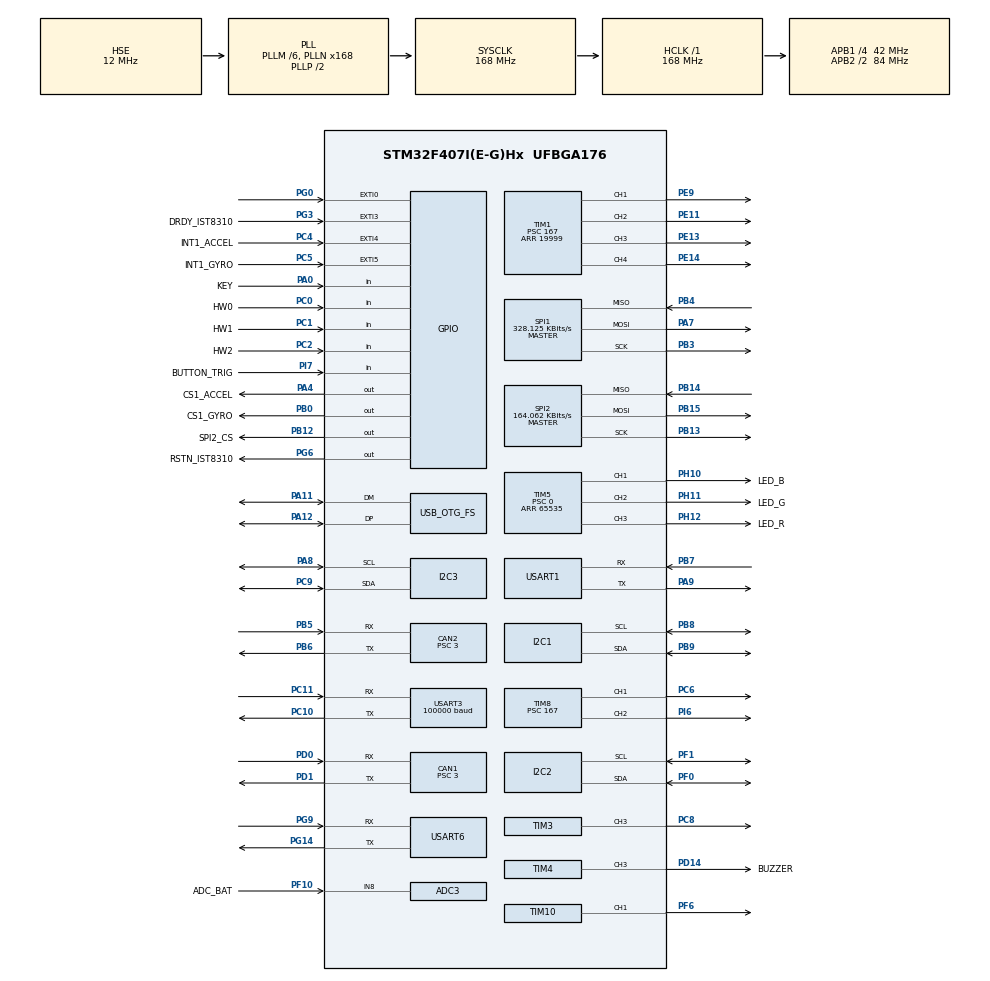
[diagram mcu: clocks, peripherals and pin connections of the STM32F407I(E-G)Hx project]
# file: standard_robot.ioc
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ADC1.Channel-0\#ChannelRegularConversion=ADC_CHANNEL_TEMPSENSOR
ADC1.ClockPrescaler=ADC_CLOCK_SYNC_PCLK_DIV6
ADC1.NbrOfConversionFlag=1
ADC1.Rank-0\#ChannelRegularConversion=1
ADC1.SamplingTime-0\#ChannelRegularConversion=ADC_SAMPLETIME_3CYCLES
ADC1.master=1
ADC3.Channel-0\#ChannelRegularConversion=ADC_CHANNEL_8
ADC3.ClockPrescaler=ADC_CLOCK_SYNC_PCLK_DIV6
ADC3.NbrOfConversionFlag=1
ADC3.Rank-0\#ChannelRegularConversion=1
ADC3.SamplingTime-0\#ChannelRegularConversion=ADC_SAMPLETIME_3CYCLES
CAN1.BS1=CAN_BS1_10TQ
CAN1.BS2=CAN_BS2_3TQ
CAN1.CalculateTimeQuantum=71.42857142857143
CAN1.Prescaler=3
CAN2.BS1=CAN_BS1_10TQ
CAN2.BS2=CAN_BS2_3TQ
CAN2.CalculateTimeQuantum=71.42857142857143
CAN2.Prescaler=3
Dma.I2C2_TX.2.Direction=DMA_MEMORY_TO_PERIPH
Dma.I2C2_TX.2.FIFOMode=DMA_FIFOMODE_DISABLE
Dma.I2C2_TX.2.Instance=DMA1_Stream7
Dma.I2C2_TX.2.MemDataAlignment=DMA_MDATAALIGN_BYTE
Dma.I2C2_TX.2.MemInc=DMA_MINC_ENABLE
Dma.I2C2_TX.2.Mode=DMA_NORMAL
Dma.I2C2_TX.2.PeriphDataAlignment=DMA_PDATAALIGN_BYTE
Dma.I2C2_TX.2.PeriphInc=DMA_PINC_DISABLE
Dma.I2C2_TX.2.Priority=DMA_PRIORITY_HIGH
Dma.Request0=SPI1_RX
Dma.Request1=SPI1_TX
Dma.Request2=I2C2_TX
Dma.Request3=USART3_RX
Dma.Request4=USART6_RX
Dma.Request5=USART6_TX
Dma.Request6=USART1_TX
Dma.SPI1_RX.0.Direction=DMA_PERIPH_TO_MEMORY
Dma.SPI1_RX.0.FIFOMode=DMA_FIFOMODE_DISABLE
Dma.SPI1_RX.0.Instance=DMA2_Stream2
Dma.SPI1_RX.0.MemDataAlignment=DMA_MDATAALIGN_BYTE
Dma.SPI1_RX.0.MemInc=DMA_MINC_ENABLE
Dma.SPI1_RX.0.Mode=DMA_NORMAL
Dma.SPI1_RX.0.PeriphDataAlignment=DMA_PDATAALIGN_BYTE
Dma.SPI1_RX.0.PeriphInc=DMA_PINC_DISABLE
Dma.SPI1_RX.0.Priority=DMA_PRIORITY_VERY_HIGH
Dma.SPI1_TX.1.Direction=DMA_MEMORY_TO_PERIPH
Dma.SPI1_TX.1.FIFOMode=DMA_FIFOMODE_DISABLE
Dma.SPI1_TX.1.Instance=DMA2_Stream3
Dma.SPI1_TX.1.MemDataAlignment=DMA_MDATAALIGN_BYTE
Dma.SPI1_TX.1.MemInc=DMA_MINC_ENABLE
Dma.SPI1_TX.1.Mode=DMA_NORMAL
Dma.SPI1_TX.1.PeriphDataAlignment=DMA_PDATAALIGN_BYTE
Dma.SPI1_TX.1.PeriphInc=DMA_PINC_DISABLE
Dma.SPI1_TX.1.Priority=DMA_PRIORITY_HIGH
Dma.USART1_TX.6.Direction=DMA_MEMORY_TO_PERIPH
Dma.USART1_TX.6.FIFOMode=DMA_FIFOMODE_DISABLE
Dma.USART1_TX.6.Instance=DMA2_Stream7
Dma.USART1_TX.6.MemDataAlignment=DMA_MDATAALIGN_BYTE
Dma.USART1_TX.6.MemInc=DMA_MINC_ENABLE
Dma.USART1_TX.6.Mode=DMA_NORMAL
Dma.USART1_TX.6.PeriphDataAlignment=DMA_PDATAALIGN_BYTE
Dma.USART1_TX.6.PeriphInc=DMA_PINC_DISABLE
Dma.USART1_TX.6.Priority=DMA_PRIORITY_MEDIUM
Dma.USART3_RX.3.Direction=DMA_PERIPH_TO_MEMORY
Dma.USART3_RX.3.FIFOMode=DMA_FIFOMODE_DISABLE
Dma.USART3_RX.3.Instance=DMA1_Stream1
Dma.USART3_RX.3.MemDataAlignment=DMA_MDATAALIGN_BYTE
Dma.USART3_RX.3.MemInc=DMA_MINC_ENABLE
Dma.USART3_RX.3.Mode=DMA_NORMAL
Dma.USART3_RX.3.PeriphDataAlignment=DMA_PDATAALIGN_BYTE
Dma.USART3_RX.3.PeriphInc=DMA_PINC_DISABLE
Dma.USART3_RX.3.Priority=DMA_PRIORITY_HIGH
Dma.USART6_RX.4.Direction=DMA_PERIPH_TO_MEMORY
Dma.USART6_RX.4.FIFOMode=DMA_FIFOMODE_DISABLE
Dma.USART6_RX.4.Instance=DMA2_Stream1
Dma.USART6_RX.4.MemDataAlignment=DMA_MDATAALIGN_BYTE
Dma.USART6_RX.4.MemInc=DMA_MINC_ENABLE
Dma.USART6_RX.4.Mode=DMA_NORMAL
Dma.USART6_RX.4.PeriphDataAlignment=DMA_PDATAALIGN_BYTE
Dma.USART6_RX.4.PeriphInc=DMA_PINC_DISABLE
Dma.USART6_RX.4.Priority=DMA_PRIORITY_HIGH
Dma.USART6_TX.5.Direction=DMA_MEMORY_TO_PERIPH
Dma.USART6_TX.5.FIFOMode=DMA_FIFOMODE_DISABLE
Dma.USART6_TX.5.Instance=DMA2_Stream6
Dma.USART6_TX.5.MemDataAlignment=DMA_MDATAALIGN_BYTE
Dma.USART6_TX.5.MemInc=DMA_MINC_ENABLE
Dma.USART6_TX.5.Mode=DMA_NORMAL
Dma.USART6_TX.5.PeriphDataAlignment=DMA_PDATAALIGN_BYTE
Dma.USART6_TX.5.PeriphInc=DMA_PINC_DISABLE
Dma.USART6_TX.5.Priority=DMA_PRIORITY_MEDIUM
FREERTOS.INCLUDE_eTaskGetState=1
FREERTOS.INCLUDE_pcTaskGetTaskName=1
FREERTOS.INCLUDE_uxTaskGetStackHighWaterMark=1
FREERTOS.INCLUDE_vTaskCleanUpResources=1
FREERTOS.INCLUDE_vTaskDelayUntil=1
FREERTOS.INCLUDE_xEventGroupSetBitFromISR=1
FREERTOS.INCLUDE_xQueueGetMutexHolder=1
FREERTOS.INCLUDE_xSemaphoreGetMutexHolder=1
FREERTOS.INCLUDE_xTaskAbortDelay=1
FREERTOS.INCLUDE_xTaskGetCurrentTaskHandle=1
FREERTOS.INCLUDE_xTaskGetHandle=1
FREERTOS.INCLUDE_xTimerPendFunctionCall=1
FREERTOS.Tasks01=test,24,128,test_task,As weak,NULL,Dynamic,NULL,NULL
FREERTOS.configTOTAL_HEAP_SIZE=24576
I2C1.I2C_Mode=I2C_Fast
I2C2.I2C_Mode=I2C_Fast
I2C3.I2C_Mode=I2C_Fast
Mcu.Family=STM32F4
Mcu.Name=STM32F407I(E-G)Hx
Mcu.Package=UFBGA176
NVIC.CAN1_RX0_IRQn=true\:6\:0\:true\:false\:true\:true\:true\:true\:true
NVIC.CAN2_RX0_IRQn=true\:6\:0\:true\:false\:true\:true\:true\:true\:true
NVIC.DMA1_Stream1_IRQn=true\:5\:0\:true\:false\:false\:true\:false\:false\:true
NVIC.DMA1_Stream7_IRQn=true\:5\:0\:true\:false\:false\:true\:false\:true\:true
NVIC.DMA2_Stream1_IRQn=true\:5\:0\:true\:false\:true\:true\:false\:true\:true
NVIC.DMA2_Stream2_IRQn=true\:5\:0\:true\:false\:false\:true\:false\:true\:true
NVIC.DMA2_Stream3_IRQn=true\:5\:0\:true\:false\:false\:true\:false\:true\:true
NVIC.DMA2_Stream6_IRQn=true\:5\:0\:true\:false\:true\:true\:false\:true\:true
NVIC.DMA2_Stream7_IRQn=true\:5\:0\:true\:false\:true\:true\:false\:true\:true
NVIC.EXTI0_IRQn=true\:6\:0\:true\:false\:true\:true\:true\:true\:true
NVIC.EXTI3_IRQn=true\:5\:0\:true\:false\:true\:true\:true\:true\:true
NVIC.EXTI4_IRQn=true\:5\:0\:true\:false\:true\:true\:true\:true\:true
NVIC.EXTI9_5_IRQn=true\:5\:0\:true\:false\:true\:true\:true\:true\:true
NVIC.OTG_FS_IRQn=true\:5\:0\:false\:false\:true\:true\:false\:true\:true
NVIC.PriorityGroup=NVIC_PRIORITYGROUP_4
NVIC.USART3_IRQn=true\:4\:0\:true\:false\:false\:false\:true\:true\:true
NVIC.USART6_IRQn=true\:5\:0\:true\:false\:false\:true\:true\:true\:true
PA0-WKUP.GPIO_Label=KEY
PA0-WKUP.GPIO_PuPd=GPIO_PULLUP
PA0-WKUP.Signal=GPIO_Input
PA11.Mode=Device_Only
PA11.Signal=USB_OTG_FS_DM
PA12.Mode=Device_Only
PA12.Signal=USB_OTG_FS_DP
PA13.Mode=Serial_Wire
PA13.Signal=SYS_JTMS-SWDIO
PA14.Mode=Serial_Wire
PA14.Signal=SYS_JTCK-SWCLK
PA4.GPIO_Label=CS1_ACCEL
PA4.GPIO_PuPd=GPIO_PULLUP
PA4.GPIO_Speed=GPIO_SPEED_FREQ_HIGH
PA4.PinState=GPIO_PIN_SET
PA4.Signal=GPIO_Output
PA7.GPIO_PuPd=GPIO_PULLUP
PA7.Mode=Full_Duplex_Master
PA7.Signal=SPI1_MOSI
PA8.Mode=I2C
PA8.Signal=I2C3_SCL
PA9.Mode=Asynchronous
PA9.Signal=USART1_TX
PB0.GPIO_Label=CS1_GYRO
PB0.GPIO_PuPd=GPIO_PULLUP
PB0.GPIO_Speed=GPIO_SPEED_FREQ_HIGH
PB0.PinState=GPIO_PIN_SET
PB0.Signal=GPIO_Output
PB12.GPIO_Label=SPI2_CS
PB12.GPIO_PuPd=GPIO_PULLUP
PB12.GPIO_Speed=GPIO_SPEED_FREQ_MEDIUM
PB12.PinState=GPIO_PIN_SET
PB12.Signal=GPIO_Output
PB13.GPIO_PuPd=GPIO_PULLUP
PB13.Mode=Full_Duplex_Master
PB13.Signal=SPI2_SCK
PB14.GPIO_PuPd=GPIO_PULLUP
PB14.Mode=Full_Duplex_Master
PB14.Signal=SPI2_MISO
PB15.GPIO_PuPd=GPIO_PULLUP
PB15.Mode=Full_Duplex_Master
PB15.Signal=SPI2_MOSI
PB3.GPIO_PuPd=GPIO_PULLUP
PB3.Mode=Full_Duplex_Master
PB3.Signal=SPI1_SCK
PB4.GPIO_PuPd=GPIO_PULLUP
PB4.Mode=Full_Duplex_Master
PB4.Signal=SPI1_MISO
PB5.Mode=Slave
PB5.Signal=CAN2_RX
PB6.Mode=Slave
PB6.Signal=CAN2_TX
PB7.Mode=Asynchronous
PB7.Signal=USART1_RX
PB8.Mode=I2C
PB8.Signal=I2C1_SCL
PB9.Mode=I2C
PB9.Signal=I2C1_SDA
PC0.GPIO_Label=HW0
PC0.Signal=GPIO_Input
PC1.GPIO_Label=HW1
PC1.Signal=GPIO_Input
PC10.Mode=Asynchronous
PC10.Signal=USART3_TX
PC11.Mode=Asynchronous
PC11.Signal=USART3_RX
PC2.GPIO_Label=HW2
PC2.Signal=GPIO_Input
PC4.GPIO_Label=INT1_ACCEL
PC4.GPIO_ModeDefaultEXTI=GPIO_MODE_IT_FALLING
PC4.GPIO_PuPd=GPIO_PULLUP
PC4.Signal=GPXTI4
PC5.GPIO_Label=INT1_GYRO
PC5.GPIO_ModeDefaultEXTI=GPIO_MODE_IT_FALLING
PC5.GPIO_PuPd=GPIO_PULLUP
PC5.Signal=GPXTI5
PC6.GPIO_PuPd=GPIO_PULLUP
PC6.GPIO_Speed=GPIO_SPEED_FREQ_HIGH
PC6.Signal=S_TIM8_CH1
PC8.GPIO_PuPd=GPIO_PULLUP
PC8.GPIO_Speed=GPIO_SPEED_FREQ_HIGH
PC8.Signal=S_TIM3_CH3
PC9.Mode=I2C
PC9.Signal=I2C3_SDA
PD0.Mode=Master
PD0.Signal=CAN1_RX
PD1.Mode=Master
PD1.Signal=CAN1_TX
PD14.GPIO_Label=BUZZER
PD14.GPIO_PuPd=GPIO_PULLUP
PD14.GPIO_Speed=GPIO_SPEED_FREQ_VERY_HIGH
PD14.Signal=S_TIM4_CH3
PE11.GPIO_PuPd=GPIO_PULLUP
PE11.GPIO_Speed=GPIO_SPEED_FREQ_HIGH
PE11.Signal=S_TIM1_CH2
PE13.GPIO_PuPd=GPIO_PULLUP
PE13.GPIO_Speed=GPIO_SPEED_FREQ_HIGH
PE13.Signal=S_TIM1_CH3
PE14.GPIO_PuPd=GPIO_PULLUP
PE14.GPIO_Speed=GPIO_SPEED_FREQ_HIGH
PE14.Signal=S_TIM1_CH4
PE9.GPIO_PuPd=GPIO_PULLUP
PE9.GPIO_Speed=GPIO_SPEED_FREQ_HIGH
PE9.Signal=S_TIM1_CH1
PF0.Mode=I2C
PF0.Signal=I2C2_SDA
PF1.Mode=I2C
PF1.Signal=I2C2_SCL
PF10.GPIO_Label=ADC_BAT
PF10.Mode=IN8
PF10.Signal=ADC3_IN8
PF6.GPIO_PuPd=GPIO_PULLUP
PF6.GPIO_Speed=GPIO_SPEED_FREQ_HIGH
PF6.Signal=S_TIM10_CH1
PG0.GPIO_ModeDefaultEXTI=GPIO_MODE_IT_FALLING
PG0.GPIO_PuPd=GPIO_PULLUP
PG0.Signal=GPXTI0
PG14.Mode=Asynchronous
PG14.Signal=USART6_TX
PG3.GPIO_Label=DRDY_IST8310
PG3.GPIO_ModeDefaultEXTI=GPIO_MODE_IT_FALLING
PG3.GPIO_PuPd=GPIO_PULLUP
PG3.Signal=GPXTI3
PG6.GPIO_Label=RSTN_IST8310
PG6.GPIO_PuPd=GPIO_PULLUP
PG6.GPIO_Speed=GPIO_SPEED_FREQ_MEDIUM
PG6.PinState=GPIO_PIN_SET
PG6.Signal=GPIO_Output
PG9.Mode=Asynchronous
PG9.Signal=USART6_RX
PH0-OSC_IN.Mode=HSE-External-Oscillator
PH0-OSC_IN.Signal=RCC_OSC_IN
PH1-OSC_OUT.Mode=HSE-External-Oscillator
PH1-OSC_OUT.Signal=RCC_OSC_OUT
PH10.GPIO_Label=LED_B
PH10.GPIO_PuPd=GPIO_PULLUP
PH10.GPIO_Speed=GPIO_SPEED_FREQ_HIGH
PH10.Signal=S_TIM5_CH1
PH11.GPIO_Label=LED_G
PH11.GPIO_PuPd=GPIO_PULLUP
PH11.GPIO_Speed=GPIO_SPEED_FREQ_HIGH
PH11.Signal=S_TIM5_CH2
PH12.GPIO_Label=LED_R
PH12.GPIO_PuPd=GPIO_PULLUP
PH12.GPIO_Speed=GPIO_SPEED_FREQ_HIGH
PH12.Signal=S_TIM5_CH3
PI6.GPIO_PuPd=GPIO_PULLUP
PI6.GPIO_Speed=GPIO_SPEED_FREQ_HIGH
PI6.Signal=S_TIM8_CH2
PI7.GPIO_Label=BUTTON_TRIG
PI7.GPIO_PuPd=GPIO_PULLUP
PI7.Signal=GPIO_Input
ProjectManager.HeapSize=0x2000
ProjectManager.StackSize=0x2000
ProjectManager.TargetToolchain=MDK-ARM V5
RCC.48MHZClocksFreq_Value=48000000
RCC.AHBFreq_Value=168000000
RCC.APB1CLKDivider=RCC_HCLK_DIV4
RCC.APB1Freq_Value=42000000
RCC.APB1TimFreq_Value=84000000
RCC.APB2CLKDivider=RCC_HCLK_DIV2
RCC.APB2Freq_Value=84000000
RCC.APB2TimFreq_Value=168000000
RCC.CortexFreq_Value=168000000
RCC.HCLKFreq_Value=168000000
RCC.HSE_VALUE=12000000
RCC.HSI_VALUE=16000000
RCC.LSE_VALUE=32768
RCC.PLLM=6
RCC.PLLN=168
RCC.PLLQ=7
RCC.RCC_RTC_Clock_SourceVirtual=RCC_RTCCLKSOURCE_HSE_DIV30
RCC.RCC_RTC_Clock_Source_FROM_HSE=RCC_RTCCLKSOURCE_HSE_DIV30
RCC.SYSCLKFreq_VALUE=168000000
RCC.SYSCLKSource=RCC_SYSCLKSOURCE_PLLCLK
RCC.VCOOutputFreq_Value=336000000
RTC.AsynchPrediv=124
RTC.SynchPrediv=3199
SH.S_TIM10_CH1.0=TIM10_CH1,PWM Generation1 CH1
SH.S_TIM1_CH1.0=TIM1_CH1,PWM Generation1 CH1
SH.S_TIM1_CH2.0=TIM1_CH2,PWM Generation2 CH2
SH.S_TIM1_CH3.0=TIM1_CH3,PWM Generation3 CH3
SH.S_TIM1_CH4.0=TIM1_CH4,PWM Generation4 CH4
SH.S_TIM3_CH3.0=TIM3_CH3,PWM Generation3 CH3
SH.S_TIM4_CH3.0=TIM4_CH3,PWM Generation3 CH3
SH.S_TIM5_CH1.0=TIM5_CH1,PWM Generation1 CH1
SH.S_TIM5_CH2.0=TIM5_CH2,PWM Generation2 CH2
SH.S_TIM5_CH3.0=TIM5_CH3,PWM Generation3 CH3
SH.S_TIM8_CH1.0=TIM8_CH1,PWM Generation1 CH1
SH.S_TIM8_CH2.0=TIM8_CH2,PWM Generation2 CH2
SPI1.BaudRatePrescaler=SPI_BAUDRATEPRESCALER_256
SPI1.CLKPhase=SPI_PHASE_2EDGE
SPI1.CLKPolarity=SPI_POLARITY_HIGH
SPI1.CalculateBaudRate=328.125 KBits/s
SPI1.Direction=SPI_DIRECTION_2LINES
SPI1.Mode=SPI_MODE_MASTER
SPI1.VirtualType=VM_MASTER
SPI2.BaudRatePrescaler=SPI_BAUDRATEPRESCALER_256
SPI2.CLKPhase=SPI_PHASE_2EDGE
SPI2.CLKPolarity=SPI_POLARITY_HIGH
SPI2.CalculateBaudRate=164.062 KBits/s
SPI2.Direction=SPI_DIRECTION_2LINES
SPI2.Mode=SPI_MODE_MASTER
SPI2.VirtualType=VM_MASTER
TIM1.Channel-PWM\ Generation1\ CH1=TIM_CHANNEL_1
TIM1.Channel-PWM\ Generation2\ CH2=TIM_CHANNEL_2
TIM1.Channel-PWM\ Generation3\ CH3=TIM_CHANNEL_3
TIM1.Channel-PWM\ Generation4\ CH4=TIM_CHANNEL_4
TIM1.Period=19999
TIM1.Prescaler=167
TIM1.Pulse-PWM\ Generation1\ CH1=1000
TIM1.Pulse-PWM\ Generation2\ CH2=1000
TIM1.Pulse-PWM\ Generation3\ CH3=1000
TIM1.Pulse-PWM\ Generation4\ CH4=1000
TIM10.Channel=TIM_CHANNEL_1
TIM10.Period=4999
TIM3.Channel-PWM\ Generation3\ CH3=TIM_CHANNEL_3
TIM3.Period=8399
TIM4.Channel-PWM\ Generation3\ CH3=TIM_CHANNEL_3
TIM4.Period=65535
TIM4.Prescaler=167
TIM5.Channel-PWM\ Generation1\ CH1=TIM_CHANNEL_1
TIM5.Channel-PWM\ Generation2\ CH2=TIM_CHANNEL_2
TIM5.Channel-PWM\ Generation3\ CH3=TIM_CHANNEL_3
TIM5.Period=65535
TIM5.Prescaler=0
TIM8.Channel-PWM\ Generation1\ CH1=TIM_CHANNEL_1
TIM8.Channel-PWM\ Generation2\ CH2=TIM_CHANNEL_2
TIM8.Period=19999
TIM8.Prescaler=167
TIM8.Pulse-PWM\ Generation1\ CH1=1000
TIM8.Pulse-PWM\ Generation2\ CH2=1000
USART1.VirtualMode=VM_ASYNC
USART3.BaudRate=100000
USART3.Parity=PARITY_EVEN
USART3.VirtualMode=VM_ASYNC
USART6.VirtualMode=VM_ASYNC
USB_DEVICE.CLASS_NAME_FS=CDC
USB_DEVICE.VirtualMode-CDC_FS=Cdc
USB_DEVICE.VirtualModeFS=Cdc_FS
USB_OTG_FS.VirtualMode=Device_Only
VP_ADC1_TempSens_Input.Mode=IN-TempSens
VP_ADC1_Vref_Input.Mode=IN-Vrefint
VP_CRC_VS_CRC.Mode=CRC_Activate
VP_FREERTOS_VS_CMSIS_V1.Mode=CMSIS_V1
VP_RNG_VS_RNG.Mode=RNG_Activate
VP_RTC_VS_RTC_Activate.Mode=RTC_Enabled
VP_TIM10_VS_ClockSourceINT.Mode=Enable_Timer
VP_TIM1_VS_ClockSourceINT.Mode=Internal
VP_TIM3_VS_ClockSourceINT.Mode=Internal
VP_TIM4_VS_ClockSourceINT.Mode=Internal
VP_TIM5_VS_ClockSourceINT.Mode=Internal
VP_TIM8_VS_ClockSourceINT.Mode=Internal
VP_USB_DEVICE_VS_USB_DEVICE_CDC_FS.Mode=CDC_FS
board=custom

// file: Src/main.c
/* USER CODE BEGIN Header */
/**
 ******************************************************************************
 * @file           : main.c
 * @brief          : Main program body
 ******************************************************************************
 * @attention
 *
 * <h2><center>&copy; Copyright (c) 2019 STMicroelectronics.
 * All rights reserved.</center></h2>
 *
 * This software component is licensed by ST under Ultimate Liberty license
 * SLA0044, the "License"; You may not use this file except in compliance with
 * the License. You may obtain a copy of the License at:
 *                             www.st.com/SLA0044
 *
 ******************************************************************************
 */
/* USER CODE END Header */

#include "main.h"
#include "cmsis_os.h"
#include "adc.h"
#include "can.h"
#include "crc.h"
#include "dma.h"
#include "i2c.h"
#include "rng.h"
#include "rtc.h"
#include "spi.h"
#include "tim.h"
#include "usart.h"
#include "usb_device.h"
#include "gpio.h"
#include "usart_debug.h"

/* USER CODE BEGIN Includes */
#include "bsp_can.h"
#include "bsp_delay.h"
#include "bsp_usart.h"
#include "remote_control.h"

#include "calibrate_task.h"
#include "chassis_task.h"
#include "detect_task.h"
#include "gimbal_task.h"
#include "INS_task.h"
#include "led_flow_task.h"
#include "oled_task.h"
#include "referee_usart_task.h"
#include "usb_task.h"
#include "voltage_task.h"
#include <stdio.h>
#include <stdlib.h>
#include <time.h>
/* USER CODE END Includes */

void SystemClock_Config(void);
void MX_FREERTOS_Init(void);

int main(void)
{

    /* MCU Configuration--------------------------------------------------------*/

    /* Reset of all peripherals, Initializes the Flash interface and the Systick. */

    HAL_Init();

    /* Configure the system clock */
    SystemClock_Config();

    /* Initialize all configured peripherals */
    MX_GPIO_Init();
    MX_DMA_Init();
    MX_ADC1_Init();
    MX_ADC3_Init();
    MX_CAN1_Init();
    MX_CAN2_Init();
    MX_I2C1_Init();
    MX_SPI1_Init();
    MX_TIM4_Init();
    MX_TIM5_Init();
    MX_USART3_UART_Init();
    MX_TIM8_Init();
    MX_CRC_Init();
    MX_RNG_Init();
    MX_I2C2_Init();
    MX_I2C3_Init();
    MX_RTC_Init();
    MX_SPI2_Init();
    MX_TIM1_Init();
    MX_TIM3_Init();
    MX_TIM10_Init();
    MX_USART1_UART_Init();
    MX_USART6_UART_Init();
    /* USER CODE BEGIN 2 */
    can_filter_init();
    delay_init();
    cali_param_init();
    remote_control_init();
    usart1_tx_dma_init();
		init_cybergear(get_pitch_gimbal_motor_measure_point_for_init(),0x06, 0);
    /* USER CODE END 2 */

    /* Call init function for freertos objects (in freertos.c) */
    MX_FREERTOS_Init();

    /* Start scheduler */
    osKernelStart();

    /* We should never get here as control is now taken by the scheduler */

    /* Infinite loop */
    while (1)
    {

    }
}

void SystemClock_Config(void)
{
    RCC_OscInitTypeDef RCC_OscInitStruct = {0};
    RCC_ClkInitTypeDef RCC_ClkInitStruct = {0};
    RCC_PeriphCLKInitTypeDef PeriphClkInitStruct = {0};

    /** Configure the main internal regulator output voltage
     */
    __HAL_RCC_PWR_CLK_ENABLE();
    __HAL_PWR_VOLTAGESCALING_CONFIG(PWR_REGULATOR_VOLTAGE_SCALE1);
    /** Initializes the CPU, AHB and APB busses clocks
     */
    RCC_OscInitStruct.OscillatorType = RCC_OSCILLATORTYPE_HSE;
    RCC_OscInitStruct.HSEState = RCC_HSE_ON;
    RCC_OscInitStruct.PLL.PLLState = RCC_PLL_ON;
    RCC_OscInitStruct.PLL.PLLSource = RCC_PLLSOURCE_HSE;
    RCC_OscInitStruct.PLL.PLLM = 6;
    RCC_OscInitStruct.PLL.PLLN = 168;
    RCC_OscInitStruct.PLL.PLLP = RCC_PLLP_DIV2;
    RCC_OscInitStruct.PLL.PLLQ = 7;
    if (HAL_RCC_OscConfig(&RCC_OscInitStruct) != HAL_OK)
    {
        Error_Handler();
    }
    /** Initializes the CPU, AHB and APB busses clocks
     */
    RCC_ClkInitStruct.ClockType = RCC_CLOCKTYPE_HCLK | RCC_CLOCKTYPE_SYSCLK | RCC_CLOCKTYPE_PCLK1 | RCC_CLOCKTYPE_PCLK2;
    RCC_ClkInitStruct.SYSCLKSource = RCC_SYSCLKSOURCE_PLLCLK;
    RCC_ClkInitStruct.AHBCLKDivider = RCC_SYSCLK_DIV1;
    RCC_ClkInitStruct.APB1CLKDivider = RCC_HCLK_DIV4;
    RCC_ClkInitStruct.APB2CLKDivider = RCC_HCLK_DIV2;

    if (HAL_RCC_ClockConfig(&RCC_ClkInitStruct, FLASH_LATENCY_5) != HAL_OK)
    {
        Error_Handler();
    }
    PeriphClkInitStruct.PeriphClockSelection = RCC_PERIPHCLK_RTC;
    PeriphClkInitStruct.RTCClockSelection = RCC_RTCCLKSOURCE_HSE_DIV30;
    if (HAL_RCCEx_PeriphCLKConfig(&PeriphClkInitStruct) != HAL_OK)
    {
        Error_Handler();
    }
}

void Error_Handler(void)
{
}

/************************ (C) COPYRIGHT STMicroelectronics *****END OF FILE****/

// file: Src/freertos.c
/* USER CODE BEGIN Header */
/**
 ******************************************************************************
 * File Name          : freertos.c
 * Description        : Code for freertos applications
 ******************************************************************************
 * @attention
 *
 * <h2><center>&copy; Copyright (c) 2019 STMicroelectronics.
 * All rights reserved.</center></h2>
 *
 * This software component is licensed by ST under Ultimate Liberty license
 * SLA0044, the "License"; You may not use this file except in compliance with
 * the License. You may obtain a copy of the License at:
 *                             www.st.com/SLA0044
 *
 ******************************************************************************
 */
/* USER CODE END Header */

#include "FreeRTOS.h"
#include "task.h"
#include "main.h"
#include "cmsis_os.h"

/* USER CODE BEGIN Includes */

#include "calibrate_task.h"
#include "chassis_task.h"
#include "detect_task.h"
#include "gimbal_task.h"
#include "INS_task.h"
#include "led_flow_task.h"
#include "oled_task.h"
#include "referee_usart_task.h"
#include "usb_task.h"
#include "voltage_task.h"
#include "servo_task.h"
#include "supercap_task.h"
/* USER CODE END Includes */

/* USER CODE BEGIN PTD */

osThreadId calibrate_tast_handle;
osThreadId chassisTaskHandle;
osThreadId detect_handle;
osThreadId gimbalTaskHandle;
osThreadId imuTaskHandle;
osThreadId led_RGB_flow_handle;
osThreadId oled_handle;
osThreadId referee_usart_task_handle;
osThreadId usb_task_handle;
osThreadId battery_voltage_handle;
osThreadId servo_task_handle;
osThreadId supercap_task_handle;

/* USER CODE END PTD */

osThreadId testHandle;

void test_task(void const *argument);
void user_delay_us(uint16_t us);
void user_delay_ms(uint16_t ms);
extern void MX_USB_DEVICE_Init(void);
void MX_FREERTOS_Init(void); /* (MISRA C 2004 rule 8.1) */

/* GetIdleTaskMemory prototype (linked to static allocation support) */
void vApplicationGetIdleTaskMemory(StaticTask_t **ppxIdleTaskTCBBuffer, StackType_t **ppxIdleTaskStackBuffer, uint32_t *pulIdleTaskStackSize);

/* GetTimerTaskMemory prototype (linked to static allocation support) */
void vApplicationGetTimerTaskMemory(StaticTask_t **ppxTimerTaskTCBBuffer, StackType_t **ppxTimerTaskStackBuffer, uint32_t *pulTimerTaskStackSize);

/* USER CODE BEGIN GET_IDLE_TASK_MEMORY */
static StaticTask_t xIdleTaskTCBBuffer;
static StackType_t xIdleStack[configMINIMAL_STACK_SIZE];

void vApplicationGetIdleTaskMemory(StaticTask_t **ppxIdleTaskTCBBuffer, StackType_t **ppxIdleTaskStackBuffer, uint32_t *pulIdleTaskStackSize)
{
    *ppxIdleTaskTCBBuffer = &xIdleTaskTCBBuffer;
    *ppxIdleTaskStackBuffer = &xIdleStack[0];
    *pulIdleTaskStackSize = configMINIMAL_STACK_SIZE;
    /* place for user code */
}
/* USER CODE END GET_IDLE_TASK_MEMORY */

/* USER CODE BEGIN GET_TIMER_TASK_MEMORY */
static StaticTask_t xTimerTaskTCBBuffer;
static StackType_t xTimerStack[configTIMER_TASK_STACK_DEPTH];

void vApplicationGetTimerTaskMemory(StaticTask_t **ppxTimerTaskTCBBuffer, StackType_t **ppxTimerTaskStackBuffer, uint32_t *pulTimerTaskStackSize)
{
    *ppxTimerTaskTCBBuffer = &xTimerTaskTCBBuffer;
    *ppxTimerTaskStackBuffer = &xTimerStack[0];
    *pulTimerTaskStackSize = configTIMER_TASK_STACK_DEPTH;
    /* place for user code */
}
/* USER CODE END GET_TIMER_TASK_MEMORY */

void MX_FREERTOS_Init(void)
{

    /* Create the thread(s) */
    /* definition and creation of test */

    // 当前该任务中无实际作用，可用作使用蜂鸣器判断错误类型的任务
    osThreadDef(test, test_task, osPriorityNormal, 0, 128);
    testHandle = osThreadCreate(osThread(test), NULL);

    /* USER CODE BEGIN RTOS_THREADS */
    /* add threads, ... */
    osThreadDef(cali, calibrate_task, osPriorityNormal, 0, 512);
    calibrate_tast_handle = osThreadCreate(osThread(cali), NULL);

    osThreadDef(ChassisTask, chassis_task, osPriorityAboveNormal, 0, 512);
    chassisTaskHandle = osThreadCreate(osThread(ChassisTask), NULL);

    osThreadDef(DETECT, detect_task, osPriorityNormal, 0, 256);
    detect_handle = osThreadCreate(osThread(DETECT), NULL);

    osThreadDef(gimbalTask, gimbal_task, osPriorityHigh, 0, 512);
    gimbalTaskHandle = osThreadCreate(osThread(gimbalTask), NULL);

    osThreadDef(imuTask, INS_task, osPriorityRealtime, 0, 1024);
    imuTaskHandle = osThreadCreate(osThread(imuTask), NULL);

    osThreadDef(led, led_RGB_flow_task, osPriorityNormal, 0, 256);
    led_RGB_flow_handle = osThreadCreate(osThread(led), NULL);

    osThreadDef(OLED, oled_task, osPriorityLow, 0, 256);
    oled_handle = osThreadCreate(osThread(OLED), NULL);

    osThreadDef(REFEREE, referee_usart_task, osPriorityNormal, 0, 128);
    referee_usart_task_handle = osThreadCreate(osThread(REFEREE), NULL);

    osThreadDef(USBTask, usb_task, osPriorityNormal, 0, 128);
    usb_task_handle = osThreadCreate(osThread(USBTask), NULL);

    osThreadDef(BATTERY_VOLTAGE, battery_voltage_task, osPriorityNormal, 0, 128);
    battery_voltage_handle = osThreadCreate(osThread(BATTERY_VOLTAGE), NULL);

    osThreadDef(SERVO, servo_task, osPriorityNormal, 0, 128);
    servo_task_handle = osThreadCreate(osThread(SERVO), NULL);

    osThreadDef(CAPTask, supercap_task, osPriorityNormal, 0, 128);
    supercap_task_handle = osThreadCreate(osThread(CAPTask), NULL);

    buzzer_on(1, 30000);
    user_delay_ms(300);
    buzzer_off();

    /* USER CODE END RTOS_THREADS */
}

__weak void test_task(void const *argument)
{
    /* init code for USB_DEVICE */
    MX_USB_DEVICE_Init();

    for (;;)
    {
        osDelay(1);
    }
}

/* USER CODE BEGIN Application */
void user_delay_us(uint16_t us)
{
    for (; us > 0; us--)
    {
        for (uint8_t i = 50; i > 0; i--)
        {
            ;
        }
    }
}
void user_delay_ms(uint16_t ms)
{
    for (; ms > 0; ms--)
    {
        user_delay_us(1000);
    }
}
/* USER CODE END Application */

/************************ (C) COPYRIGHT STMicroelectronics *****END OF FILE****/
